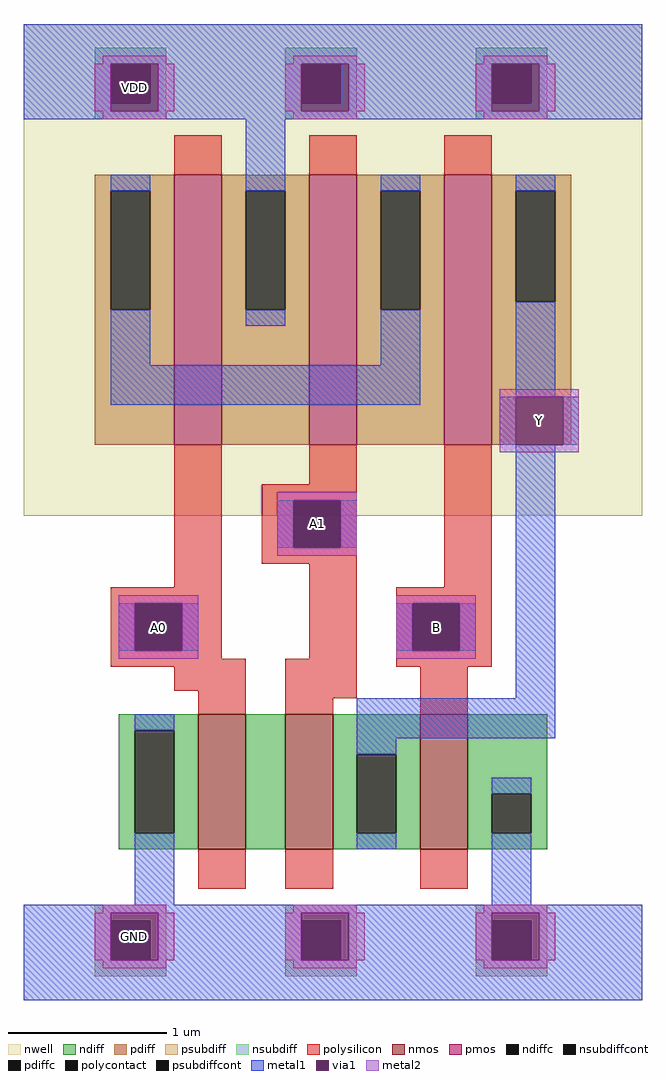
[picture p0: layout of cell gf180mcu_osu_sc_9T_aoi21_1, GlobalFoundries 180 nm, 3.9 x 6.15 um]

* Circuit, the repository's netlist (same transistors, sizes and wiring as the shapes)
* NGSPICE file created from gf180mcu_osu_sc_9T_aoi21_1.ext - technology: gf180mcuC

.inc "/import/yukari1/lrburle/globalfoundries-pdk-libs-gf180mcu_osu_sc/char/techfiles/design.hspice"
.lib "/import/yukari1/lrburle/globalfoundries-pdk-libs-gf180mcu_osu_sc/char/techfiles/sm141064.hspice" typical

X0 a_9_70# A1 VDD VDD pmos_3p3 w=1.7u l=0.3u
X1 GND B Y GND nmos_3p3 w=0.85u l=0.3u
X2 Y B a_9_70# VDD pmos_3p3 w=1.7u l=0.3u
X3 VDD A0 a_9_70# VDD pmos_3p3 w=1.7u l=0.3u
X4 a_28_19# A0 GND GND nmos_3p3 w=0.85u l=0.3u
X5 Y A1 a_28_19# GND nmos_3p3 w=0.85u l=0.3u

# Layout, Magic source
magic
tech gf180mcuC
<< nwell >>
rect 0 61 78 123
<< nmos >>
rect 22 19 28 36
rect 33 19 39 36
rect 50 19 56 36
<< pmos >>
rect 19 70 25 104
rect 36 70 42 104
rect 53 70 59 104
<< ndiff >>
rect 12 34 22 36
rect 12 21 14 34
rect 19 21 22 34
rect 12 19 22 21
rect 28 19 33 36
rect 39 31 50 36
rect 39 21 42 31
rect 47 21 50 31
rect 39 19 50 21
rect 56 26 66 36
rect 56 21 59 26
rect 64 21 66 26
rect 56 19 66 21
<< pdiff >>
rect 9 102 19 104
rect 9 87 11 102
rect 16 87 19 102
rect 9 70 19 87
rect 25 102 36 104
rect 25 87 28 102
rect 33 87 36 102
rect 25 70 36 87
rect 42 102 53 104
rect 42 87 45 102
rect 50 87 53 102
rect 42 70 53 87
rect 59 102 69 104
rect 59 88 62 102
rect 67 88 69 102
rect 59 70 69 88
<< ndiffc >>
rect 14 21 19 34
rect 42 21 47 31
rect 59 21 64 26
<< pdiffc >>
rect 11 87 16 102
rect 28 87 33 102
rect 45 87 50 102
rect 62 88 67 102
<< psubdiff >>
rect 9 10 18 12
rect 9 5 11 10
rect 16 5 18 10
rect 9 3 18 5
rect 33 10 42 12
rect 33 5 35 10
rect 40 5 42 10
rect 33 3 42 5
rect 57 10 66 12
rect 57 5 59 10
rect 64 5 66 10
rect 57 3 66 5
<< nsubdiff >>
rect 9 118 18 120
rect 9 113 11 118
rect 16 113 18 118
rect 9 111 18 113
rect 33 118 42 120
rect 33 113 35 118
rect 40 113 42 118
rect 33 111 42 113
rect 57 118 66 120
rect 57 113 59 118
rect 64 113 66 118
rect 57 111 66 113
<< psubdiffcont >>
rect 11 5 16 10
rect 35 5 40 10
rect 59 5 64 10
<< nsubdiffcont >>
rect 11 113 16 118
rect 35 113 40 118
rect 59 113 64 118
<< polysilicon >>
rect 19 104 25 109
rect 36 104 42 109
rect 53 104 59 109
rect 19 52 25 70
rect 36 65 42 70
rect 30 63 42 65
rect 30 57 34 63
rect 40 57 42 63
rect 30 55 42 57
rect 11 50 25 52
rect 11 44 14 50
rect 20 44 25 50
rect 11 43 25 44
rect 36 43 42 55
rect 53 52 59 70
rect 11 42 28 43
rect 19 39 28 42
rect 22 36 28 39
rect 33 38 42 43
rect 47 50 59 52
rect 47 44 49 50
rect 55 44 59 50
rect 47 42 59 44
rect 33 36 39 38
rect 50 36 56 42
rect 22 14 28 19
rect 33 14 39 19
rect 50 14 56 19
<< polycontact >>
rect 34 57 40 63
rect 14 44 20 50
rect 49 44 55 50
<< metal1 >>
rect 0 118 78 123
rect 0 112 11 118
rect 17 112 35 118
rect 41 112 59 118
rect 65 112 78 118
rect 0 111 78 112
rect 11 102 16 104
rect 11 80 16 87
rect 28 102 33 111
rect 28 85 33 87
rect 45 102 50 104
rect 45 80 50 87
rect 11 75 50 80
rect 62 102 67 104
rect 62 76 67 88
rect 60 70 62 76
rect 68 70 70 76
rect 32 57 34 63
rect 40 57 42 63
rect 12 44 14 50
rect 20 44 22 50
rect 47 44 49 50
rect 55 44 57 50
rect 62 38 67 70
rect 14 34 19 36
rect 14 12 19 21
rect 42 33 67 38
rect 42 31 47 33
rect 42 19 47 21
rect 59 26 64 28
rect 59 12 64 21
rect 0 11 78 12
rect 0 5 11 11
rect 17 5 35 11
rect 41 5 59 11
rect 65 5 78 11
rect 0 0 78 5
<< via1 >>
rect 11 113 16 118
rect 16 113 17 118
rect 11 112 17 113
rect 35 113 40 118
rect 40 113 41 118
rect 35 112 41 113
rect 59 113 64 118
rect 64 113 65 118
rect 59 112 65 113
rect 62 70 68 76
rect 34 57 40 63
rect 14 44 20 50
rect 49 44 55 50
rect 11 10 17 11
rect 11 5 16 10
rect 16 5 17 10
rect 35 10 41 11
rect 35 5 40 10
rect 40 5 41 10
rect 59 10 65 11
rect 59 5 64 10
rect 64 5 65 10
<< metal2 >>
rect 10 118 18 119
rect 34 118 42 119
rect 58 118 66 119
rect 9 112 11 118
rect 17 112 19 118
rect 33 112 35 118
rect 41 112 43 118
rect 57 112 59 118
rect 65 112 67 118
rect 10 111 18 112
rect 34 111 42 112
rect 58 111 66 112
rect 60 76 70 77
rect 60 70 62 76
rect 68 70 70 76
rect 60 69 70 70
rect 32 63 42 64
rect 32 57 34 63
rect 40 57 42 63
rect 32 56 42 57
rect 12 50 22 51
rect 12 44 14 50
rect 20 44 22 50
rect 12 43 22 44
rect 47 50 57 51
rect 47 44 49 50
rect 55 44 57 50
rect 47 43 57 44
rect 10 11 18 12
rect 34 11 42 12
rect 58 11 66 12
rect 9 5 11 11
rect 17 5 19 11
rect 33 5 35 11
rect 41 5 43 11
rect 57 5 59 11
rect 65 5 67 11
rect 10 4 18 5
rect 34 4 42 5
rect 58 4 66 5
<< labels >>
rlabel metal2 14 115 14 115 1 VDD
rlabel metal2 14 8 14 8 1 GND
rlabel metal2 17 47 17 47 1 A0
port 5 n
rlabel metal2 37 60 37 60 1 A1
port 6 n
rlabel metal2 52 47 52 47 1 B
port 7 n
rlabel metal2 65 73 65 73 1 Y
port 4 n
<< end >>
